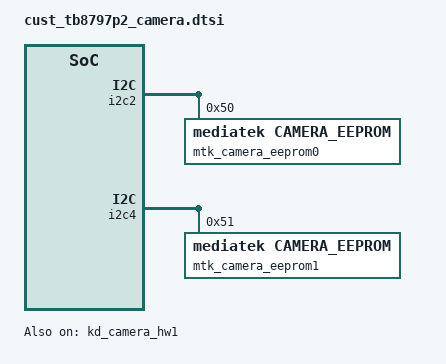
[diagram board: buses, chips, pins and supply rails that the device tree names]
// SPDX-License-Identifier: GPL-2.0
/*
 * Copyright (c) 2018 MediaTek Inc.
 */
/* CAMERA GPIO standardization */
&pio {
	camera_pins_cam0_rst_0: cam0@0 {
		pins_cmd_dat {
			pinmux = <PINMUX_GPIO143__FUNC_GPIO143>;
			slew-rate = <1>;
			output-low;
		};
	};
	camera_pins_cam0_rst_1: cam0@1 {
		pins_cmd_dat {
			pinmux = <PINMUX_GPIO143__FUNC_GPIO143>;
			slew-rate = <1>;
			output-high;
		};
	};
	camera_pins_cam0_pnd_0: cam0@2 {
		pins_cmd_dat {
			pinmux = <PINMUX_GPIO137__FUNC_GPIO137>;
			slew-rate = <1>;
			output-low;
		};
	};
	camera_pins_cam0_pnd_1: cam0@3 {
		pins_cmd_dat {
			pinmux = <PINMUX_GPIO137__FUNC_GPIO137>;
			slew-rate = <1>;
			output-high;
		};
	};
	camera_pins_cam1_rst_0: cam1@0 {
		pins_cmd_dat {
			pinmux = <PINMUX_GPIO134__FUNC_GPIO134>;
			slew-rate = <1>;
			output-low;
		};
	};
	camera_pins_cam1_rst_1: cam1@1 {
		pins_cmd_dat {
			pinmux = <PINMUX_GPIO134__FUNC_GPIO134>;
			slew-rate = <1>;
			output-high;
		};
	};
	camera_pins_cam1_pnd_0: cam1@2 {
		pins_cmd_dat {
			pinmux = <PINMUX_GPIO133__FUNC_GPIO133>;
			slew-rate = <1>;
			output-low;
		};
	};
	camera_pins_cam1_pnd_1: cam1@3 {
		pins_cmd_dat {
			pinmux = <PINMUX_GPIO133__FUNC_GPIO133>;
			slew-rate = <1>;
			output-high;
		};
	};
	camera_pins_cam0_vcamd_0: cam0@vcam0 {
		pins_cmd_dat {
			pinmux = <PINMUX_GPIO135__FUNC_GPIO135>;
			slew-rate = <1>;
			output-low;
		};
	};
	camera_pins_cam0_vcamd_1: cam0@vcam1 {
		pins_cmd_dat {
			pinmux = <PINMUX_GPIO135__FUNC_GPIO135>;
			slew-rate = <1>;
			output-high;
		};
	};
	camera_pins_cam0_vcama_0: cam0@vcam2 {
		pins_cmd_dat {
			pinmux = <PINMUX_GPIO9__FUNC_GPIO9>;
			slew-rate = <1>;
			output-low;
		};
	};
	camera_pins_cam0_vcama_1: cam0@vcam3 {
		pins_cmd_dat {
			pinmux = <PINMUX_GPIO9__FUNC_GPIO9>;
			slew-rate = <1>;
			output-high;
		};
	};
	camera_pins_cam1_vcamd_0: cam1@vcam0 {
		pins_cmd_dat {
			pinmux = <PINMUX_GPIO8__FUNC_GPIO8>;
			slew-rate = <1>;
			output-low;
		};
	};
	camera_pins_cam1_vcamd_1: cam1@vcam1 {
		pins_cmd_dat {
			pinmux = <PINMUX_GPIO8__FUNC_GPIO8>;
			slew-rate = <1>;
			output-high;
		};
	};
	camera_pins_cam1_vcama_0: cam1@vcam2 {
		pins_cmd_dat {
			pinmux = <PINMUX_GPIO9__FUNC_GPIO9>;
			slew-rate = <1>;
			output-low;
		};
	};
	camera_pins_cam1_vcama_1: cam1@vcam3 {
		pins_cmd_dat {
			pinmux = <PINMUX_GPIO9__FUNC_GPIO9>;
			slew-rate = <1>;
			output-high;
		};
	};
	camera_pins_cam0_mclk_off: camera_pins_cam0_mclk_off {
		pins_cmd_dat {
			pinmux = <PINMUX_GPIO149__FUNC_GPIO149>;
			drive-strength = <1>;
		};
	};
	camera_pins_cam0_mclk_2ma: camera_pins_cam0_mclk_2ma {
		pins_cmd_dat {
			pinmux = <PINMUX_GPIO149__FUNC_CMMCLK0>;
			drive-strength = <0>;
		};
	};
	camera_pins_cam0_mclk_4ma: camera_pins_cam0_mclk_4ma {
		pins_cmd_dat {
			pinmux = <PINMUX_GPIO149__FUNC_CMMCLK0>;
			drive-strength = <1>;
		};
	};
	camera_pins_cam0_mclk_6ma: camera_pins_cam0_mclk_6ma {
		pins_cmd_dat {
			pinmux = <PINMUX_GPIO150__FUNC_CMMCLK1>;
			drive-strength = <2>;
		};
	};
	camera_pins_cam0_mclk_8ma: camera_pins_cam0_mclk_8ma {
		pins_cmd_dat {
			pinmux = <PINMUX_GPIO149__FUNC_CMMCLK0>;
			drive-strength = <3>;
		};
	};
	camera_pins_cam1_mclk_off: camera_pins_cam1_mclk_off {
		pins_cmd_dat {
			pinmux = <PINMUX_GPIO136__FUNC_GPIO136>;
			drive-strength = <1>;
		};
	};
	camera_pins_cam1_mclk_2ma: camera_pins_cam1_mclk_2ma {
		pins_cmd_dat {
			pinmux = <PINMUX_GPIO136__FUNC_CMMCLK3>;
			drive-strength = <0>;
		};
	};
	camera_pins_cam1_mclk_4ma: camera_pins_cam1_mclk_4ma {
		pins_cmd_dat {
			pinmux = <PINMUX_GPIO136__FUNC_CMMCLK3>;
			drive-strength = <1>;
		};
	};
	camera_pins_cam1_mclk_6ma: camera_pins_cam1_mclk_6ma {
		pins_cmd_dat {
			pinmux = <PINMUX_GPIO136__FUNC_CMMCLK3>;
			drive-strength = <2>;
		};
	};
	camera_pins_cam1_mclk_8ma: camera_pins_cam1_mclk_8ma {
		pins_cmd_dat {
			pinmux = <PINMUX_GPIO136__FUNC_CMMCLK3>;
			drive-strength = <3>;
		};
	};
	camera_pins_default: camdefault {
	};
};
&kd_camera_hw1 {
	pinctrl-names = "default",
			"cam0_rst0", "cam0_rst1",
			"cam0_pnd0", "cam0_pnd1",
			"cam1_rst0", "cam1_rst1",
			"cam1_pnd0", "cam1_pnd1",
			"cam0_ldo_vcamd_0", "cam0_ldo_vcamd_1",
			"cam0_ldo_vcama_0", "cam0_ldo_vcama_1",
			"cam1_ldo_vcamd_0", "cam1_ldo_vcamd_1",
			"cam1_ldo_vcama_0", "cam1_ldo_vcama_1",
			"cam0_mclk_off",
			"cam0_mclk_2mA", "cam0_mclk_4mA",
			"cam0_mclk_6mA", "cam0_mclk_8mA",
			"cam1_mclk_off",
			"cam1_mclk_2mA", "cam1_mclk_4mA",
			"cam1_mclk_6mA", "cam1_mclk_8mA";
	pinctrl-0 = <&camera_pins_default>;
	pinctrl-1 = <&camera_pins_cam0_rst_0>;
	pinctrl-2 = <&camera_pins_cam0_rst_1>;
	pinctrl-3 = <&camera_pins_cam0_pnd_0>;
	pinctrl-4 = <&camera_pins_cam0_pnd_1>;
	pinctrl-5 = <&camera_pins_cam1_rst_0>;
	pinctrl-6 = <&camera_pins_cam1_rst_1>;
	pinctrl-7 = <&camera_pins_cam1_pnd_0>;
	pinctrl-8 = <&camera_pins_cam1_pnd_1>;
	pinctrl-9 = <&camera_pins_cam0_vcamd_0>;
	pinctrl-10 = <&camera_pins_cam0_vcamd_1>;
	pinctrl-11 = <&camera_pins_cam0_vcama_0>;
	pinctrl-12 = <&camera_pins_cam0_vcama_1>;
	pinctrl-13 = <&camera_pins_cam1_vcamd_0>;
	pinctrl-14 = <&camera_pins_cam1_vcamd_1>;
	pinctrl-15 = <&camera_pins_cam1_vcama_0>;
	pinctrl-16 = <&camera_pins_cam1_vcama_1>;
	pinctrl-17 = <&camera_pins_cam0_mclk_off>;
	pinctrl-18 = <&camera_pins_cam0_mclk_2ma>;
	pinctrl-19 = <&camera_pins_cam0_mclk_4ma>;
	pinctrl-20 = <&camera_pins_cam0_mclk_6ma>;
	pinctrl-21 = <&camera_pins_cam0_mclk_8ma>;
	pinctrl-22 = <&camera_pins_cam1_mclk_off>;
	pinctrl-23 = <&camera_pins_cam1_mclk_2ma>;
	pinctrl-24 = <&camera_pins_cam1_mclk_4ma>;
	pinctrl-25 = <&camera_pins_cam1_mclk_6ma>;
	pinctrl-26 = <&camera_pins_cam1_mclk_8ma>;

	cam0_vcamio-supply = <&mt_pmic_vcamio_ldo_reg>;
	cam1_vcamio-supply = <&mt_pmic_vcamio_ldo_reg>;

	cam0_pin_mclk = "mclk";
	cam0_pin_pdn = "gpio";
	cam0_pin_rst = "gpio";
	cam0_pin_vcama = "gpio";
	cam0_pin_vcamd = "gpio";
	cam0_pin_vcamio = "regulator";
	cam1_pin_mclk = "mclk";
	cam1_pin_pdn = "gpio";
	cam1_pin_rst = "gpio";
	cam1_pin_vcama = "gpio";
	cam1_pin_vcamd = "gpio";
	cam1_pin_vcamio = "regulator";

	status = "okay";
};
/* CAMERA GPIO end */

/* CAMERA EEPROM */
&i2c2 {
	mtk_camera_eeprom0:camera_eeprom0@50 {
		compatible = "mediatek,camera_eeprom";
		reg = <0x50>;
		status = "okay";
	};
};
&i2c4 {
	mtk_camera_eeprom1:camera_eeprom1@51 {
		compatible = "mediatek,camera_eeprom";
		reg = <0x51>;
		status = "okay";
	};
};
/* CAMERA EEPROM end */
